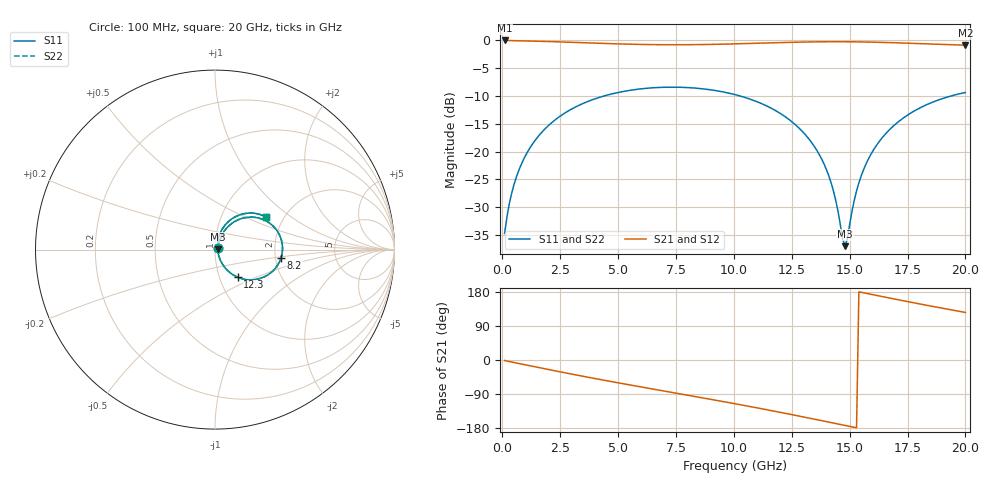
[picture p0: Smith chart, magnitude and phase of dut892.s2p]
! Touchstone file exported from HFSS 2026.1.0
!  File:  C:/ffzhzh/LocalFiles/Ansys_Project_Files/temp_train_TSV_RDL_892_1783275318_38704.aedt
!  Generated:  02:25:25 AM Jul  6, 2026
!  Design:  TSV_RDL
!  Project:  temp_train_TSV_RDL_892_1783275318_38704
! Variables:
!  h_bsmrdl = 3.65um
!  h_ox = 20um
!  h_rdl = 5um
!  h_sub = 82.18um
!  h_tmrdl = 2.41um
!  h_tsv = 82.18um
!  h_via = 3um
!  l_bsmrdl = 738.48um
!  l_sub = 3844.35um
!  l_tmrdl = 267.17um
!  m_sub = 200um
!  pitch = 47.21um
!  r_tsv = 11.92um
!  s_tmrdl = 10um
!  w_bsmrdl = 28.87um
!  w_sub = 500um
!  w_tmrdl = 24.54um
!  x_tsv_center1 = 279.44um
!  x_tsv_center2 = 1046.79um
!  x_tsv_center3 = 1338.5um
!  x_tsv_center4 = 2105.85um
!  x_tsv_center5 = 2397.56um
!  x_tsv_center6 = 3164.91um
# GHz S MA R 50.000000
! Terminal data exported
! Port[1] = TM_RDL1_1_T1
! Port[2] = TM_RDL5_1_T1
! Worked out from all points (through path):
!   200 points, 100 MHz to 20 GHz, reference 50 ohm
!   highest |S21| = -0.13 dB at 100 MHz (marker M1); lowest = -1.0 dB at 20 GHz (marker M2)
!   group delay of S21, straight-line fit = 32.3 ps
!   lowest |S11| = -36.9 dB at 14.8 GHz (marker M3), VSWR 1.03, Z = 51.4 + j0.127 ohm
!   |S11| at or under -10 dB: start of sweep to 4.451 GHz; 10.21 GHz to 19.44 GHz (9.225 GHz wide, 62.2 % of centre)
!   |S22| runs from -36.7 to -8.5 dB; largest |S21 - S12| = 2e-14
!   S11 on the Smith chart (normalised r, x): 100 MHz: 1.03, +0.02; 8.2 GHz: 2.15, -0.23; 12.3 GHz: 1.22, -0.39; 20 GHz: 1.63, +0.67
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0.1  0.01851 32.9  0.9846 -1.4  0.9846 -1.4  0.01851 32.9
! Gamma 0 0 0 0
! Port Impedance 50 0 50 0
0.3  0.03389 55.5  0.9823 -4.0  0.9823 -4.0  0.03388 55.5
0.5  0.05016 62.0  0.9799 -6.5  0.9799 -6.5  0.05016 62.0
1.2  0.1082 64.0  0.9732 -15.3  0.9732 -15.3  0.1082 64.0
2.2  0.1859 55.7  0.9606 -27.6  0.9606 -27.6  0.1859 55.7
3.5  0.2698 42.1  0.9399 -43.2  0.9399 -43.2  0.2698 42.1
5.1  0.3404 25.1  0.9162 -61.3  0.9162 -61.3  0.3404 25.1
6.8  0.3743 7.4  0.9023 -79.9  0.9023 -79.9  0.3743 7.4
8.2  0.3708 -7.1  0.9027 -95.0  0.9027 -95.0  0.3708 -7.1
10.1  0.3208 -27.1  0.9185 -115.9  0.9185 -115.9  0.3208 -27.1
12.3  0.1992 -50.6  0.9461 -141.7  0.9461 -141.7  0.1992 -50.5
13.4  0.1171 -60.9  0.9561 -155.1  0.9561 -155.1  0.1171 -60.7
13.8  0.08502 -63.1  0.9582 -160.1  0.9582 -160.1  0.08505 -62.9
14.2  0.05258 -61.9  0.9593 -165.1  0.9593 -165.1  0.05265 -61.5
14.8  0.01423 5.0  0.9589 -172.6  0.9589 -172.6  0.01462 5.1
14.9  0.01655 34.5  0.9586 -173.9  0.9586 -173.9  0.0169 33.9
15.2  0.03663 67.3  0.9574 -177.7  0.9574 -177.7  0.03681 66.7
15.5  0.06054 72.9  0.9555 178.6  0.9555 178.6  0.06066 72.5
16  0.1008 72.3  0.9511 172.4  0.9511 172.4  0.1009 72.1
16.7  0.155 66.8  0.9429 163.8  0.9429 163.8  0.1551 66.7
18.1  0.2493 52.5  0.9217 147.1  0.9217 147.1  0.2493 52.5
20  0.3371 32.6  0.8937 125.5  0.8937 125.5  0.3372 32.5
